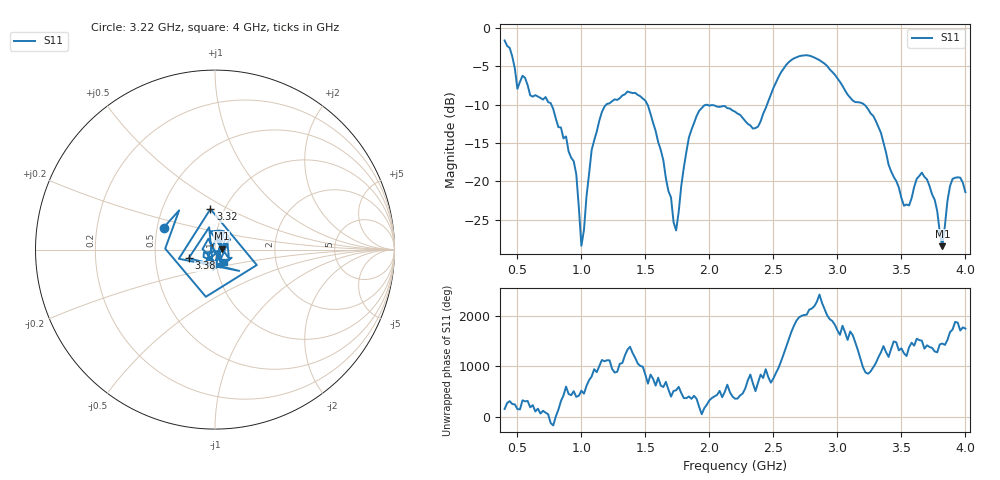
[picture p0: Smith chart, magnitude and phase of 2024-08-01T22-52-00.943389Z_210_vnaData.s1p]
!Created with skrf (http://scikit-rf.org).
# Hz S RI R 50.0
!freq ReS11 ImS11
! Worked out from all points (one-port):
!   181 points, 400 MHz to 4 GHz, reference 50 ohm
!   lowest |S11| = -28.4 dB at 3.82 GHz (marker M1), VSWR 1.08, Z = 53.9 + j0.653 ohm
!   |S11| at or under -10 dB: 1.517 GHz to 1.976 GHz (458.7 MHz wide, 26.3 % of centre); 1.983 GHz to 2.45 GHz (466.9 MHz wide, 21.1 % of centre); 3.211 GHz to end of sweep (the widest 3 of 4)
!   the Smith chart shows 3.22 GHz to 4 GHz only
!   S11 on the Smith chart (normalised r, x): 3.22 GHz: 0.54, +0.15; 3.32 GHz: 0.86, +0.41; 3.38 GHz: 0.74, -0.07; 4 GHz: 1.09, -0.15
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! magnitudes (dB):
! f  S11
! 400 MHz  -1.6
! 500 MHz  -7.9
! 720 MHz  -9.0
! 860 MHz  -14.4
! 960 MHz  -19.1
! 1 GHz  -28.4
! 1.08 GHz  -15.9
! 1.18 GHz  -10.2
! 1.3 GHz  -9.1
! 1.52 GHz  -10.1
! 1.72 GHz  -25.3
! 1.76 GHz  -24.0
! 1.84 GHz  -14.3
! 1.92 GHz  -10.8
! 2.2 GHz  -10.9
! 2.38 GHz  -12.8
! 2.66 GHz  -3.9
! 2.9 GHz  -4.6
! 3.1 GHz  -9.1
! 3.22 GHz  -10.1
! 3.32 GHz  -12.9
! 3.38 GHz  -16.2
! 3.56 GHz  -23.1
! 3.66 GHz  -18.8
! 3.76 GHz  -22.4
! 3.82 GHz  -28.4
! 3.9 GHz  -19.7
! 4 GHz  -21.4
